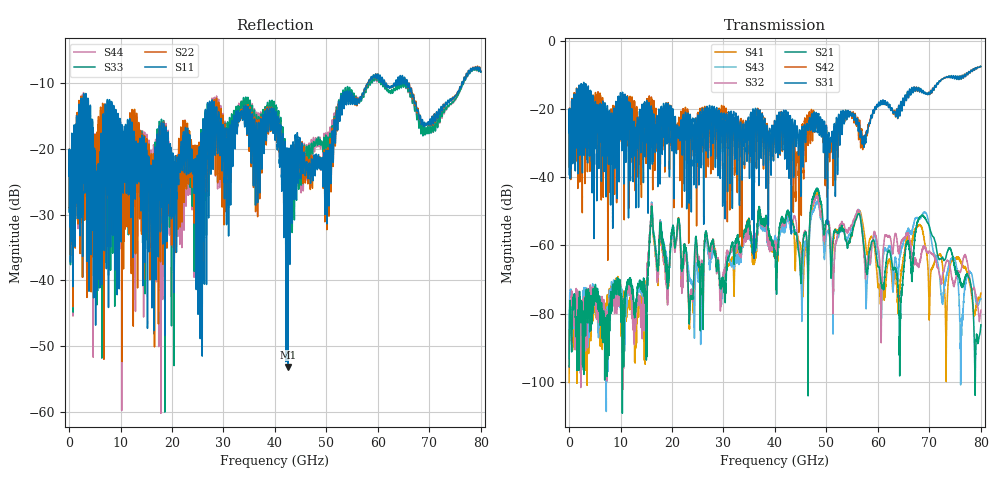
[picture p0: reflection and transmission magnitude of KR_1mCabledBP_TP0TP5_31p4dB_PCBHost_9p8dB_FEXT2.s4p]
!! Reference: shanbhag_3dj_02_2305.pdf
!! CHANNEL DESCRIPTION: TP0_TP5 KR Channel using 1meter Cabled BP, PCB Host
!! CABLE DESCRIPTION: 1meter 26AWG Cable
!! MODEL STATUS: Developmental
!! PORT DEFINITIONS:
!! Port  1  ----->  Side A  Side B  <-----  Port  2
!! Port  3  ----->  Side A  Side B  <-----  Port  4
# HZ S MA R 50.000000
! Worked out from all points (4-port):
!   8000 points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, 10 MHz to 80 GHz, reference 50 ohm
!   strongest paths, dB at 10 MHz, 20.01 GHz, 40.01 GHz, 60.01 GHz, 80 GHz:
!     S31: -26.9, -32.3, -24.3, -19.3, -7.6
!     S42: -26.8, -30.2, -24.9, -18.9, -7.6
!     S21: -95.6, -55.5, -63.3, -66.3, -83.3
!     S32: -88.1, -55.9, -60.0, -60.7, -79.0
!     S43: -93.0, -56.6, -58.4, -62.5, -75.8
!     S41: -100.2, -56.7, -62.2, -71.8, -74.0
!   lowest |S11| = -53.2 dB at 42.51 GHz (marker M1), VSWR 1.00, Z = 49.9 - j0.21 ohm
!   |S11| at or under -10 dB: start of sweep to 58.08 GHz; 61.62 GHz to 63.44 GHz (1.816 GHz wide, 2.9 % of centre); 66.03 GHz to 76.29 GHz (10.26 GHz wide, 14.4 % of centre)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
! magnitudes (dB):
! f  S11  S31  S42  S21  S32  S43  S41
! 10 MHz  -24.1  -26.9  -26.8  -95.6  -88.1  -93.0  -100.2
! 42.51 GHz  -53.2  -20.9  -21.5  -50.6  -50.7  -52.2  -51.6
! 56.28 GHz  -12.9  -25.2  -28.0  -50.7  -49.8  -49.7  -50.1
! 57.84 GHz  -10.2  -26.3  -27.7  -68.3  -64.7  -72.7  -62.4
! 64.33 GHz  -8.8  -20.2  -20.0  -84.6  -60.2  -62.3  -70.5
! 68.73 GHz  -16.0  -14.6  -14.7  -51.3  -60.8  -50.6  -56.0
! 80 GHz  -8.3  -7.6  -7.6  -83.3  -79.0  -75.8  -74.0
